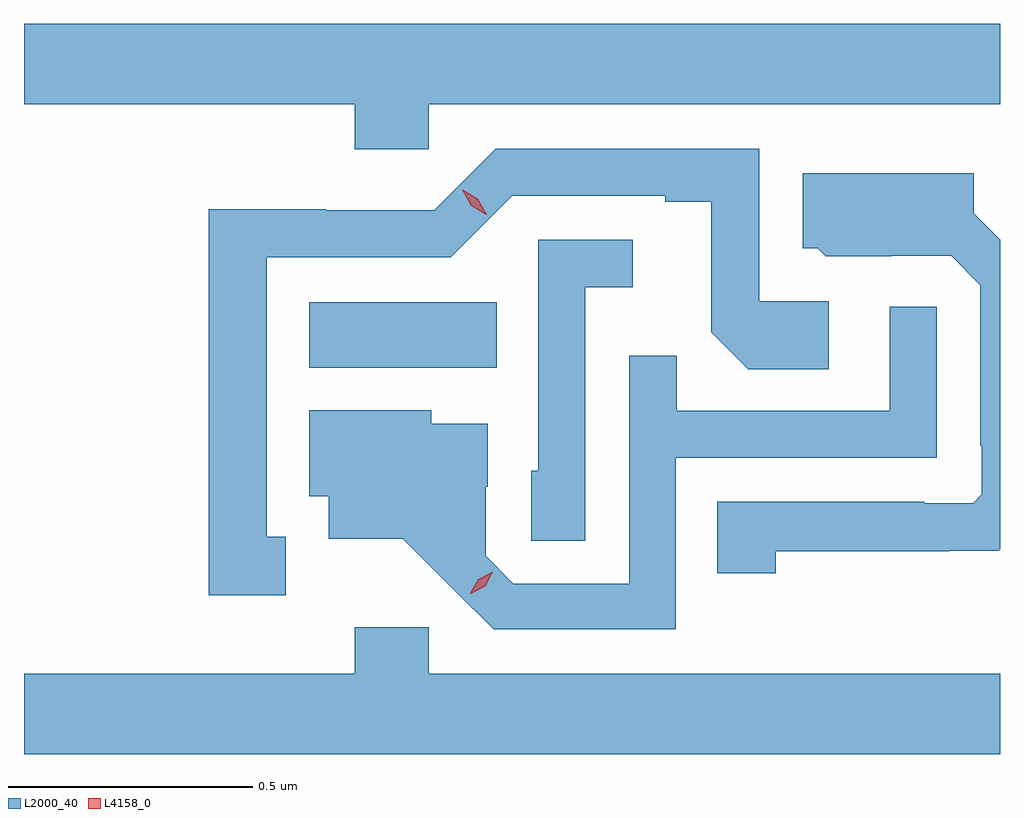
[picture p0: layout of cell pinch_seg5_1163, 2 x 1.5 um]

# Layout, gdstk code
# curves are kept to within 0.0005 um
import gdstk
lib = gdstk.Library(unit=1e-6, precision=1e-09)
def R(c, l, rs):  # rectangles x0, y0, x1, y1
    for r in rs: c.add(gdstk.rectangle(r[:2], r[2:], *l))
def P(c, l, *ps):  # polygons
    for p in ps: c.add(gdstk.Polygon(p, *l))
L2000_40 = (2000, 40)
L4158_0 = (4158, 0)

pinch_seg5_1163 = lib.new_cell('pinch_seg5_1163')
R(pinch_seg5_1163, L2000_40, [(756.752,842.9,757.136,843.034)])
P(pinch_seg5_1163, L2000_40, [(756.167,843.44),(756.845,843.44),(756.845,843.347),(756.996,843.347),(756.996,843.44),(758.167,843.44),(758.167,843.604),(756.167,843.604)],
  [(756.703,842.553),(756.664,842.553),(756.664,843.126),(757.041,843.126),(757.167,843.252),(757.481,843.252),(757.481,843.24),(757.575,843.24),(757.575,842.972),(757.651,842.896),(757.816,842.896),(757.816,843.036),(757.674,843.036),(757.674,843.348),(757.134,843.348),(757.008,843.222),(756.786,843.222),(756.786,843.224),(756.546,843.224),(756.546,842.433),(756.703,842.433)],
  [(757.707,842.524),(758.063,842.524),(758.063,842.525),(758.164,842.525),(758.167,842.528),(758.167,843.162),(758.113,843.216),(758.113,843.298),(757.763,843.298),(757.763,843.144),(757.794,843.144),(757.81,843.128),(757.944,843.128),(757.944,843.129),(758.067,843.129),(758.127,843.069),(758.127,842.74),(758.13,842.74),(758.13,842.64),(758.112,842.622),(758.012,842.622),(758.012,842.625),(757.588,842.625),(757.588,842.478),(757.707,842.478)],
  [(757.317,843.065),(757.414,843.065),(757.414,843.162),(757.221,843.162),(757.221,842.688),(757.206,842.688),(757.206,842.545),(757.317,842.545)],
  [(757.503,842.715),(758.037,842.715),(758.037,843.025),(757.941,843.025),(757.941,842.811),(757.505,842.811),(757.505,842.924),(757.407,842.924),(757.407,842.457),(757.17,842.457),(757.113,842.514),(757.113,842.656),(757.117,842.656),(757.117,842.785),(757.002,842.785),(757.002,842.812),(756.752,842.812),(756.752,842.636),(756.791,842.636),(756.791,842.549),(756.943,842.549),(757.13,842.364),(757.503,842.364)],
  [(758.167,842.272),(756.996,842.272),(756.996,842.368),(756.845,842.368),(756.845,842.272),(756.167,842.272),(756.167,842.108),(758.167,842.108)])
P(pinch_seg5_1163, L4158_0, [(757.081,842.436),(757.081,842.437),(757.098,842.466),(757.128,842.482),(757.128,842.482),(757.128,842.482),(757.112,842.452),(757.082,842.436)],
  [(757.114,843.213),(757.083,843.232),(757.065,843.264),(757.065,843.264),(757.066,843.264),(757.097,843.246),(757.115,843.213),(757.115,843.213)])

lib.write_gds('pinch_seg5_1163.gds')
